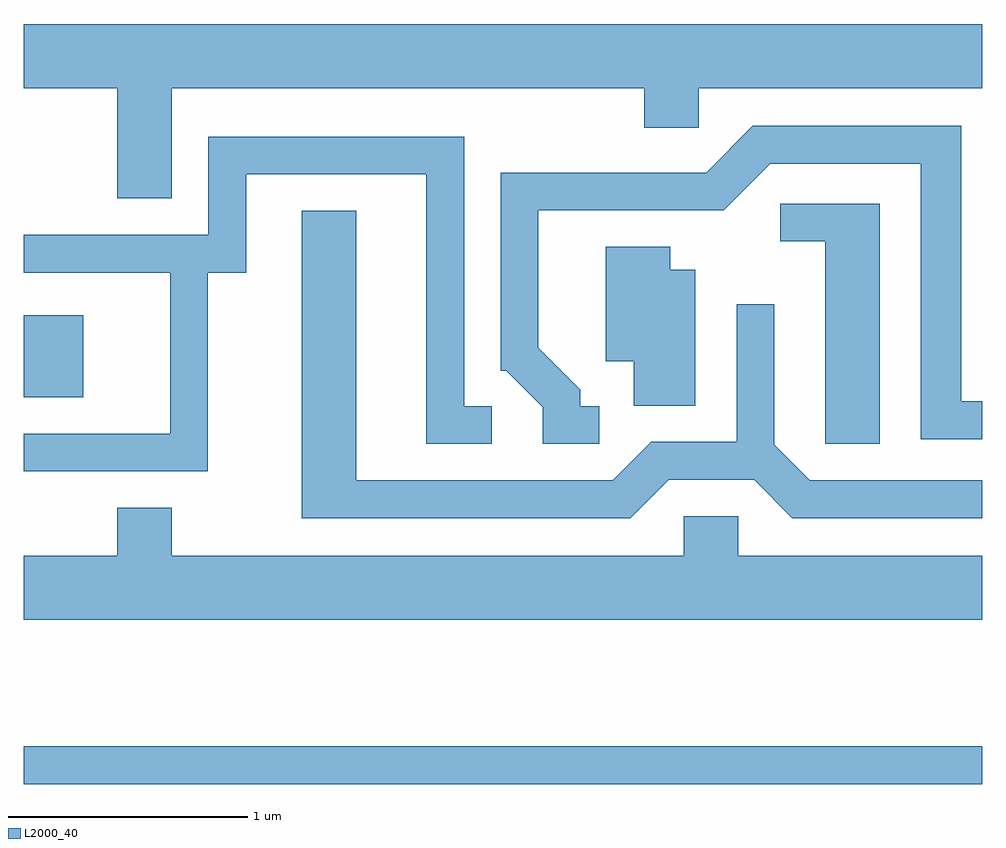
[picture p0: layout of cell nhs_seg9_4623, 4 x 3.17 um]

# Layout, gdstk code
import gdstk
lib = gdstk.Library(unit=1e-6, precision=1e-09)
def R(c, l, rs):  # rectangles x0, y0, x1, y1
    for r in rs: c.add(gdstk.rectangle(r[:2], r[2:], *l))
def P(c, l, *ps):  # polygons
    for p in ps: c.add(gdstk.Polygon(p, *l))
L2000_40 = (2000, 40)

nhs_seg9_4623 = lib.new_cell('nhs_seg9_4623')
R(nhs_seg9_4623, L2000_40, [(321.611,1986.691,325.611,1986.849), (321.611,1988.306,321.859,1988.649)])
P(nhs_seg9_4623, L2000_40, [(322.229,1989.596),(324.201,1989.596),(324.201,1989.431),(324.429,1989.431),(324.429,1989.596),(325.611,1989.596),(325.611,1989.864),(321.611,1989.864),(321.611,1989.596),(322.001,1989.596),(322.001,1989.136),(322.229,1989.136)],
  [(324.013,1988.269),(323.934,1988.269),(323.934,1988.337),(323.759,1988.512),(323.759,1989.086),(324.532,1989.086),(324.727,1989.281),(325.356,1989.281),(325.356,1988.131),(325.611,1988.131),(325.611,1988.289),(325.524,1988.289),(325.524,1989.439),(324.654,1989.439),(324.459,1989.244),(323.601,1989.244),(323.601,1988.416),(323.624,1988.416),(323.776,1988.264),(323.776,1988.111),(324.013,1988.111)],
  [(322.379,1988.826),(322.539,1988.826),(322.539,1989.236),(323.291,1989.236),(323.291,1988.111),(323.563,1988.111),(323.563,1988.269),(323.449,1988.269),(323.449,1989.394),(322.381,1989.394),(322.381,1988.984),(321.611,1988.984),(321.611,1988.826),(322.221,1988.826),(322.221,1988.154),(321.611,1988.154),(321.611,1987.996),(322.379,1987.996)],
  [(325.184,1989.114),(324.768,1989.114),(324.768,1988.956),(324.956,1988.956),(324.956,1988.111),(325.184,1988.111)],
  [(324.302,1987.961),(324.659,1987.961),(324.819,1987.801),(325.611,1987.801),(325.611,1987.959),(324.892,1987.959),(324.744,1988.107),(324.744,1988.693),(324.586,1988.693),(324.586,1988.119),(324.229,1988.119),(324.069,1987.959),(322.999,1987.959),(322.999,1989.084),(322.771,1989.084),(322.771,1987.801),(324.142,1987.801)],
  [(324.414,1988.839),(324.309,1988.839),(324.309,1988.934),(324.041,1988.934),(324.041,1988.456),(324.156,1988.456),(324.156,1988.271),(324.414,1988.271)],
  [(325.611,1987.644),(324.594,1987.644),(324.594,1987.809),(324.366,1987.809),(324.366,1987.644),(322.229,1987.644),(322.229,1987.844),(322.001,1987.844),(322.001,1987.644),(321.611,1987.644),(321.611,1987.376),(325.611,1987.376)])

lib.write_gds('nhs_seg9_4623.gds')
